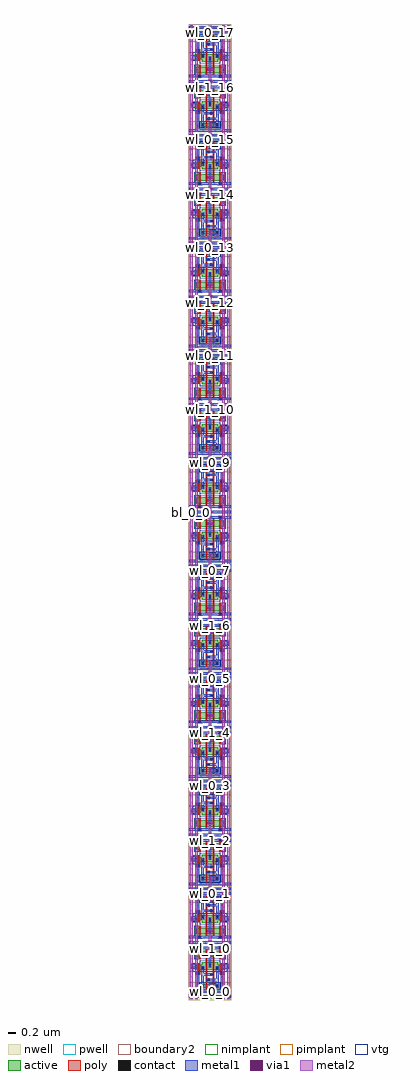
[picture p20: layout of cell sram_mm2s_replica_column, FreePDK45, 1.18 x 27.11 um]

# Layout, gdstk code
import gdstk
lib = gdstk.Library(unit=1e-6, precision=5e-10)
def R(c, l, rs):  # rectangles x0, y0, x1, y1
    for r in rs: c.add(gdstk.rectangle(r[:2], r[2:], *l))
def A(c, l, x, y, w, h, nx, ny, dx, dy):  # array of equal rectangles
    R(c, l, [(x+i*dx, y+j*dy, x+i*dx+w, y+j*dy+h) for i in range(nx) for j in range(ny)])
active = (1, 0)
pwell = (2, 0)
nwell = (3, 0)
nimplant = (4, 0)
pimplant = (5, 0)
vtg = (6, 0)
poly = (9, 0)
contact = (10, 0)
metal1 = (11, 0)
via1 = (12, 0)
metal2 = (13, 0)
boundary2 = (239, 0)

replica_cell_2rw = lib.new_cell('replica_cell_2rw')
R(replica_cell_2rw, active, [(0.545,-0.045,0.635,0.045), (0.165,0.2325,0.22,0.4125), (0.2075,0.2325,0.2775,0.4125), (0.2075,0.2325,0.3975,0.4125), (0.3275,0.2325,0.3975,0.4125), (0.3975,0.2325,0.4675,0.4125), (0.3975,0.2325,0.5875,0.4125), (0.5175,0.2325,0.5875,0.4125), (0.5525,0.2325,0.6275,0.4125), (0.5525,0.2325,0.6275,0.4125), (0.5525,0.2325,0.7775,0.4125), (0.7075,0.2325,0.7775,0.4125), (0.7775,0.2325,0.8475,0.4125), (0.7775,0.2325,0.9675,0.4125), (0.8975,0.2325,0.9675,0.4125), (0.955,0.2325,1.01,0.4125), (0.165,0.2775,0.255,0.3675), (0.92,0.2775,1.01,0.3675), (0.5525,0.2875,0.6275,0.3625), (0.3625,0.5525,0.4375,0.7575), (0.3625,0.5525,0.4375,0.7575), (0.3625,0.5525,0.5875,0.7575), (0.5175,0.5525,0.5875,0.7575), (0.5875,0.5525,0.6575,0.7575), (0.5875,0.5525,0.8125,0.7575), (0.7375,0.5525,0.8125,0.7575), (0.7375,0.5525,0.8125,0.7575), (0.545,0.5725,0.635,0.6625), (0.1575,0.6225,0.2325,0.6975), (0.1575,0.6225,0.2325,0.7575), (0.1575,0.6225,0.2325,0.7575), (0.1575,0.6225,0.3825,0.7575), (0.3125,0.6225,0.3825,0.7575), (0.7925,0.6225,0.8625,0.7575), (0.7925,0.6225,1.0175,0.7575), (0.9425,0.6225,1.0175,0.6975), (0.9425,0.6225,1.0175,0.7575), (0.9425,0.6225,1.0175,0.7575), (0.3625,0.6825,0.4375,0.7575), (0.7375,0.6825,0.8125,0.7575), (0.3625,1.1625,0.4375,1.2375), (0.3625,1.1625,0.4375,1.2525), (0.3625,1.1625,0.4375,1.2525), (0.3625,1.1625,0.6225,1.2525), (0.5475,1.1625,0.6225,1.2375), (0.5475,1.1625,0.6225,1.2525), (0.5475,1.1625,0.6225,1.2525), (0.5875,1.1625,0.6575,1.2525), (0.5875,1.1625,0.8125,1.2525), (0.7375,1.1625,0.8125,1.2375), (0.7375,1.1625,0.8125,1.2525), (0.7375,1.1625,0.8125,1.2525), (0.54,1.45,0.63,1.54)])
R(replica_cell_2rw, pwell, [(0.49,-0.1,0.69,0.1), (0,-0.085,1.175,0.8125), (0.1525,0.1775,0.4525,0.4675), (0.3425,0.1775,0.6425,0.4675), (0.4975,0.1775,0.8325,0.4675), (0.7225,0.1775,1.0225,0.4675), (0.3075,0.4975,0.6425,0.8125), (0.5325,0.4975,0.8675,0.8125), (0.1025,0.5675,0.4375,0.8125), (0.7375,0.5675,1.0725,0.8125)])
R(replica_cell_2rw, nwell, [(0,1.1075,1.175,1.595), (0.3075,1.1075,0.6775,1.3075), (0.5325,1.1075,0.8675,1.3075), (0.485,1.395,0.685,1.595)])
R(replica_cell_2rw, nimplant, [(0.165,0.2325,0.22,0.4125), (0.2075,0.2325,0.3975,0.4125), (0.3975,0.2325,0.5875,0.4125), (0.5525,0.2325,0.7775,0.4125), (0.7775,0.2325,0.9675,0.4125), (0.955,0.2325,1.01,0.4125), (0.165,0.2775,0.255,0.3675), (0.92,0.2775,1.01,0.3675), (0.3625,0.5525,0.5875,0.7575), (0.5875,0.5525,0.8125,0.7575), (0.545,0.5725,0.635,0.6625), (0.1575,0.6225,0.3825,0.7575), (0.7925,0.6225,1.0175,0.7575), (0.54,1.45,0.63,1.54)])
R(replica_cell_2rw, pimplant, [(0.545,-0.045,0.635,0.045), (0.3625,1.1625,0.6225,1.2525), (0.5875,1.1625,0.8125,1.2525)])
R(replica_cell_2rw, vtg, [(0.1525,0.1775,0.4525,0.4675), (0.3425,0.1775,0.6425,0.4675), (0.4975,0.1775,0.8325,0.4675), (0.7225,0.1775,1.0225,0.4675), (0.3075,0.4975,0.6425,0.8125), (0.5325,0.4975,0.8675,0.8125), (0.1025,0.5675,0.4375,0.8125), (0.7375,0.5675,1.0725,0.8125), (0.3075,1.1075,0.6775,1.3075), (0.5325,1.1075,0.8675,1.3075)])
A(replica_cell_2rw, poly, 0.2775, 0.1775, 0.05, 0.055, 4, 2, 0.19, 0.235)
A(replica_cell_2rw, poly, 0.2775, 0.1775, 0.05, 0.29, 4, 1, 0.19, 0)
R(replica_cell_2rw, poly, [(0.265,0.1075,0.34,0.1825), (0.835,0.1075,0.91,0.1825), (0.6575,0.44,0.7075,0.525), (0.4675,0.45,0.5175,0.525), (0.4675,0.4975,0.5175,0.8125), (0.4675,0.4975,0.5175,0.5525), (0.6575,0.4975,0.7075,0.8125), (0.6575,0.4975,0.7075,0.5525), (0.2625,0.5675,0.3125,0.6225), (0.2625,0.5675,0.3125,0.8125), (0.8625,0.5675,0.9125,0.6225), (0.8625,0.5675,0.9125,0.8125), (0.4675,0.7225,0.5175,1.135), (0.6575,0.7225,0.7075,1.135), (0.2625,0.7575,0.3125,0.8125), (0.4675,0.7575,0.5175,0.8125), (0.6575,0.7575,0.7075,0.8125), (0.8625,0.7575,0.9125,0.8125), (0.2625,0.8,0.3125,0.8975), (0.8625,0.8,0.9125,0.8975), (0.2125,0.8225,0.2875,0.8975), (0.8875,0.8225,0.9625,0.8975), (0.5925,0.8475,0.6675,0.9225), (0.5075,0.9975,0.5825,1.0725), (0.4675,1.1075,0.5175,1.1625), (0.4675,1.1075,0.5175,1.3075), (0.6575,1.1075,0.7075,1.1625), (0.6575,1.1075,0.7075,1.3075), (0.4675,1.2525,0.5175,1.3075), (0.6575,1.2525,0.7075,1.3075)])
R(replica_cell_2rw, contact, [(0.5575,-0.0325,0.6225,0.0325), (0.27,0.1125,0.335,0.1775), (0.84,0.1125,0.905,0.1775), (0.1775,0.29,0.2425,0.355), (0.9325,0.29,0.9975,0.355), (0.5575,0.2925,0.6225,0.3575), (0.5575,0.585,0.6225,0.65), (0.1625,0.6275,0.2275,0.6925), (0.9475,0.6275,1.0125,0.6925), (0.3675,0.6875,0.4325,0.7525), (0.7425,0.6875,0.8075,0.7525), (0.2175,0.8275,0.2825,0.8925), (0.8925,0.8275,0.9575,0.8925), (0.5975,0.8525,0.6625,0.9175), (0.5125,1.0025,0.5775,1.0675), (0.3675,1.1675,0.4325,1.2325), (0.5525,1.1675,0.6175,1.2325), (0.7425,1.1675,0.8075,1.2325), (0.5525,1.4625,0.6175,1.5275)])
R(replica_cell_2rw, metal1, [(0,-0.0325,1.175,0.0325), (0,-0.0325,1.175,0.0325), (0.235,0.1125,0.37,0.1775), (0.805,0.1125,0.94,0.1775), (0,0.1225,1.175,0.1875), (0,0.1225,1.175,0.1875), (0.1775,0.255,0.2425,0.39), (0.1775,0.255,0.2425,0.39), (0.9325,0.255,0.9975,0.39), (0.9325,0.255,0.9975,0.39), (0.5575,0.2575,0.6225,0.615), (0.5575,0.55,0.6225,0.685), (0.0375,0.5925,0.1025,0.7275), (0.0375,0.5925,0.2275,0.7275), (0.1625,0.5925,0.2275,0.7275), (0.9475,0.5925,1.0125,0.7275), (0.9475,0.5925,1.1375,0.7275), (1.0725,0.5925,1.1375,0.7275), (0.3475,0.6525,0.4125,1.2675), (0.3675,0.6525,0.4325,0.7875), (0.7425,0.6525,0.8075,0.7875), (0.7625,0.6525,0.8275,1.2675), (0.2175,0.7925,0.2825,0.9275), (0.8925,0.7925,0.9575,0.9275), (0.3675,0.8525,0.5825,0.9175), (0.5625,0.8525,0.6975,0.9175), (0.2175,0.895,0.2825,1.385), (0.8925,0.895,0.9575,1.385), (0.4775,1.0025,0.6125,1.0675), (0.5925,1.0025,0.8275,1.0675), (0.3675,1.1325,0.4325,1.2675), (0.5525,1.1325,0.6175,1.2675), (0.5525,1.1325,0.6175,1.2675), (0.6175,1.1325,0.8075,1.2675), (0,1.3325,1.175,1.3975), (0,1.3325,1.175,1.3975), (0,1.4625,1.175,1.5275), (0,1.4625,1.175,1.5275)])
R(replica_cell_2rw, via1, [(0.5575,-0.0325,0.6225,0.0325), (0.1775,0.29,0.2425,0.355), (0.9325,0.29,0.9975,0.355), (0.5575,0.2925,0.6225,0.3575), (0.0375,0.6275,0.1025,0.6925), (1.0725,0.6275,1.1375,0.6925), (0.5525,1.1675,0.6175,1.2325), (0.5525,1.4625,0.6175,1.5275)])
R(replica_cell_2rw, metal2, [(0.5225,-0.035,0.6575,0.035), (0.035,-0.015,0.105,1.56), (0.035,-0.015,0.105,1.56), (0.175,-0.015,0.245,1.56), (0.175,-0.015,0.245,1.56), (0.93,-0.015,1,1.56), (0.93,-0.015,1,1.56), (1.07,-0.015,1.14,1.56), (1.07,-0.015,1.14,1.56), (0.555,0.005,0.625,0.29), (0.175,0.255,0.245,0.39), (0.93,0.255,1,0.39), (0.5225,0.29,0.6575,0.36), (0.035,0.5925,0.105,0.7275), (1.07,0.5925,1.14,0.7275), (0.55,1.1325,0.62,1.2675), (1.0875,1.1375,1.1325,1.1725), (0.9525,1.145,0.985,1.175), (0.1925,1.155,0.23,1.18), (0.0475,1.1575,0.09,1.185), (0.55,1.1575,0.62,1.5275), (0.5175,1.46,0.6525,1.53)])
R(replica_cell_2rw, boundary2, [(0,0,1.175,1.495)])
replica_cell_2rw.add(gdstk.Label('gnd', (0.59,0), layer=11, texttype=0))
replica_cell_2rw.add(gdstk.Label('vdd', (0.585,1.495), layer=11, texttype=0))
replica_cell_2rw.add(gdstk.Label('wl1', (0.135,0.1425), layer=11, texttype=0))
replica_cell_2rw.add(gdstk.Label('wl0', (0.14,1.355), layer=11, texttype=0))
replica_cell_2rw.add(gdstk.Label('br0', (1.1075,1.1575), layer=13, texttype=0))
replica_cell_2rw.add(gdstk.Label('br1', (0.9675,1.1625), layer=13, texttype=0))
replica_cell_2rw.add(gdstk.Label('bl1', (0.205,1.1725), layer=13, texttype=0))
replica_cell_2rw.add(gdstk.Label('bl0', (0.07,1.1725), layer=13, texttype=0))
replica_cell_2rw.add(gdstk.Label('bl0', (0.07,0.7725), layer=13, texttype=0))
replica_cell_2rw.add(gdstk.Label('br0', (1.105,0.7725), layer=13, texttype=0))
replica_cell_2rw.add(gdstk.Label('bl1', (0.21,0.7725), layer=13, texttype=0))
replica_cell_2rw.add(gdstk.Label('br1', (0.965,0.7725), layer=13, texttype=0))
replica_cell_2rw.add(gdstk.Label('wl0', (0.5875,1.365), layer=11, texttype=0))
replica_cell_2rw.add(gdstk.Label('wl1', (0.5875,0.155), layer=11, texttype=0))
replica_cell_2rw.add(gdstk.Label('vdd', (0.5875,1.495), layer=11, texttype=0))
replica_cell_2rw.add(gdstk.Label('gnd', (0.5875,0), layer=11, texttype=0))

dummy_cell_2rw = lib.new_cell('dummy_cell_2rw')
R(dummy_cell_2rw, active, [(0.545,-0.045,0.635,0.045), (0.165,0.2325,0.22,0.4125), (0.2075,0.2325,0.2775,0.4125), (0.2075,0.2325,0.3975,0.4125), (0.3275,0.2325,0.3975,0.4125), (0.3975,0.2325,0.4675,0.4125), (0.3975,0.2325,0.5875,0.4125), (0.5175,0.2325,0.5875,0.4125), (0.5525,0.2325,0.6275,0.4125), (0.5525,0.2325,0.6275,0.4125), (0.5525,0.2325,0.7775,0.4125), (0.7075,0.2325,0.7775,0.4125), (0.7775,0.2325,0.8475,0.4125), (0.7775,0.2325,0.9675,0.4125), (0.8975,0.2325,0.9675,0.4125), (0.955,0.2325,1.01,0.4125), (0.165,0.2775,0.255,0.3675), (0.92,0.2775,1.01,0.3675), (0.5525,0.2875,0.6275,0.3625), (0.3625,0.5525,0.4375,0.7575), (0.3625,0.5525,0.4375,0.7575), (0.3625,0.5525,0.5875,0.7575), (0.5175,0.5525,0.5875,0.7575), (0.5875,0.5525,0.6575,0.7575), (0.5875,0.5525,0.8125,0.7575), (0.7375,0.5525,0.8125,0.7575), (0.7375,0.5525,0.8125,0.7575), (0.545,0.5725,0.635,0.6625), (0.1575,0.6225,0.2325,0.6975), (0.1575,0.6225,0.2325,0.7575), (0.1575,0.6225,0.2325,0.7575), (0.1575,0.6225,0.3825,0.7575), (0.3125,0.6225,0.3825,0.7575), (0.7925,0.6225,0.8625,0.7575), (0.7925,0.6225,1.0175,0.7575), (0.9425,0.6225,1.0175,0.6975), (0.9425,0.6225,1.0175,0.7575), (0.9425,0.6225,1.0175,0.7575), (0.3625,0.6825,0.4375,0.7575), (0.7375,0.6825,0.8125,0.7575), (0.3625,1.1625,0.4375,1.2375), (0.3625,1.1625,0.4375,1.2525), (0.3625,1.1625,0.4375,1.2525), (0.3625,1.1625,0.6225,1.2525), (0.5475,1.1625,0.6225,1.2375), (0.5475,1.1625,0.6225,1.2525), (0.5475,1.1625,0.6225,1.2525), (0.5875,1.1625,0.6575,1.2525), (0.5875,1.1625,0.8125,1.2525), (0.7375,1.1625,0.8125,1.2375), (0.7375,1.1625,0.8125,1.2525), (0.7375,1.1625,0.8125,1.2525), (0.54,1.45,0.63,1.54)])
R(dummy_cell_2rw, pwell, [(0.49,-0.1,0.69,0.1), (0,-0.085,1.175,0.8125), (0.1525,0.1775,0.4525,0.4675), (0.3425,0.1775,0.6425,0.4675), (0.4975,0.1775,0.8325,0.4675), (0.7225,0.1775,1.0225,0.4675), (0.3075,0.4975,0.6425,0.8125), (0.5325,0.4975,0.8675,0.8125), (0.1025,0.5675,0.4375,0.8125), (0.7375,0.5675,1.0725,0.8125)])
R(dummy_cell_2rw, nwell, [(0,1.1075,1.175,1.595), (0.3075,1.1075,0.6775,1.3075), (0.5325,1.1075,0.8675,1.3075), (0.485,1.395,0.685,1.595)])
R(dummy_cell_2rw, nimplant, [(0.165,0.2325,0.22,0.4125), (0.2075,0.2325,0.3975,0.4125), (0.3975,0.2325,0.5875,0.4125), (0.5525,0.2325,0.7775,0.4125), (0.7775,0.2325,0.9675,0.4125), (0.955,0.2325,1.01,0.4125), (0.165,0.2775,0.255,0.3675), (0.92,0.2775,1.01,0.3675), (0.3625,0.5525,0.5875,0.7575), (0.5875,0.5525,0.8125,0.7575), (0.545,0.5725,0.635,0.6625), (0.1575,0.6225,0.3825,0.7575), (0.7925,0.6225,1.0175,0.7575), (0.54,1.45,0.63,1.54)])
R(dummy_cell_2rw, pimplant, [(0.545,-0.045,0.635,0.045), (0.3625,1.1625,0.6225,1.2525), (0.5875,1.1625,0.8125,1.2525)])
R(dummy_cell_2rw, vtg, [(0.1525,0.1775,0.4525,0.4675), (0.3425,0.1775,0.6425,0.4675), (0.4975,0.1775,0.8325,0.4675), (0.7225,0.1775,1.0225,0.4675), (0.3075,0.4975,0.6425,0.8125), (0.5325,0.4975,0.8675,0.8125), (0.1025,0.5675,0.4375,0.8125), (0.7375,0.5675,1.0725,0.8125), (0.3075,1.1075,0.6775,1.3075), (0.5325,1.1075,0.8675,1.3075)])
A(dummy_cell_2rw, poly, 0.2775, 0.1775, 0.05, 0.055, 4, 2, 0.19, 0.235)
A(dummy_cell_2rw, poly, 0.2775, 0.1775, 0.05, 0.29, 4, 1, 0.19, 0)
R(dummy_cell_2rw, poly, [(0.265,0.1075,0.34,0.1825), (0.835,0.1075,0.91,0.1825), (0.6575,0.44,0.7075,0.525), (0.4675,0.45,0.5175,0.525), (0.4675,0.4975,0.5175,0.8125), (0.4675,0.4975,0.5175,0.5525), (0.6575,0.4975,0.7075,0.8125), (0.6575,0.4975,0.7075,0.5525), (0.2625,0.5675,0.3125,0.6225), (0.2625,0.5675,0.3125,0.8125), (0.8625,0.5675,0.9125,0.6225), (0.8625,0.5675,0.9125,0.8125), (0.4675,0.7225,0.5175,1.135), (0.6575,0.7225,0.7075,1.135), (0.2625,0.7575,0.3125,0.8125), (0.4675,0.7575,0.5175,0.8125), (0.6575,0.7575,0.7075,0.8125), (0.8625,0.7575,0.9125,0.8125), (0.2625,0.8,0.3125,0.8975), (0.8625,0.8,0.9125,0.8975), (0.2125,0.8225,0.2875,0.8975), (0.8875,0.8225,0.9625,0.8975), (0.5925,0.8475,0.6675,0.9225), (0.5075,0.9975,0.5825,1.0725), (0.4675,1.1075,0.5175,1.1625), (0.4675,1.1075,0.5175,1.3075), (0.6575,1.1075,0.7075,1.1625), (0.6575,1.1075,0.7075,1.3075), (0.4675,1.2525,0.5175,1.3075), (0.6575,1.2525,0.7075,1.3075)])
R(dummy_cell_2rw, contact, [(0.5575,-0.0325,0.6225,0.0325), (0.27,0.1125,0.335,0.1775), (0.84,0.1125,0.905,0.1775), (0.1775,0.29,0.2425,0.355), (0.9325,0.29,0.9975,0.355), (0.5575,0.2925,0.6225,0.3575), (0.5575,0.585,0.6225,0.65), (0.1625,0.6275,0.2275,0.6925), (0.9475,0.6275,1.0125,0.6925), (0.3675,0.6875,0.4325,0.7525), (0.7425,0.6875,0.8075,0.7525), (0.2175,0.8275,0.2825,0.8925), (0.8925,0.8275,0.9575,0.8925), (0.5975,0.8525,0.6625,0.9175), (0.5125,1.0025,0.5775,1.0675), (0.3675,1.1675,0.4325,1.2325), (0.5525,1.1675,0.6175,1.2325), (0.7425,1.1675,0.8075,1.2325), (0.5525,1.4625,0.6175,1.5275)])
R(dummy_cell_2rw, metal1, [(0,-0.0325,1.175,0.0325), (0,-0.0325,1.175,0.0325), (0.235,0.1125,0.37,0.1775), (0.805,0.1125,0.94,0.1775), (0,0.1225,1.175,0.1875), (0,0.1225,1.175,0.1875), (0.1775,0.255,0.2425,0.39), (0.1775,0.255,0.2425,0.39), (0.9325,0.255,0.9975,0.39), (0.9325,0.255,0.9975,0.39), (0.5575,0.2575,0.6225,0.615), (0.5575,0.55,0.6225,0.685), (0.0375,0.5925,0.1025,0.7275), (0.0375,0.5925,0.2275,0.7275), (0.1625,0.5925,0.2275,0.7275), (0.9475,0.5925,1.0125,0.7275), (0.9475,0.5925,1.1375,0.7275), (1.0725,0.5925,1.1375,0.7275), (0.3475,0.6525,0.4125,1.2675), (0.3675,0.6525,0.4325,0.7875), (0.7425,0.6525,0.8075,0.7875), (0.7625,0.6525,0.8275,1.2675), (0.2175,0.7925,0.2825,0.9275), (0.8925,0.7925,0.9575,0.9275), (0.3675,0.8525,0.5825,0.9175), (0.5625,0.8525,0.6975,0.9175), (0.2175,0.895,0.2825,1.385), (0.8925,0.895,0.9575,1.385), (0.4775,1.0025,0.6125,1.0675), (0.5925,1.0025,0.8275,1.0675), (0.3675,1.1325,0.4325,1.2675), (0.5525,1.1325,0.6175,1.2675), (0.5525,1.1325,0.6175,1.2675), (0.7425,1.1325,0.8075,1.2675), (0,1.3325,1.175,1.3975), (0,1.3325,1.175,1.3975), (0,1.4625,1.175,1.5275), (0,1.4625,1.175,1.5275)])
R(dummy_cell_2rw, via1, [(0.5575,-0.0325,0.6225,0.0325), (0.5575,0.2925,0.6225,0.3575), (0.5525,1.1675,0.6175,1.2325), (0.5525,1.4625,0.6175,1.5275)])
R(dummy_cell_2rw, metal2, [(0.5225,-0.035,0.6575,0.035), (0.035,-0.015,0.105,1.56), (0.035,-0.015,0.105,1.56), (0.175,-0.015,0.245,1.56), (0.175,-0.015,0.245,1.56), (0.93,-0.015,1,1.56), (0.93,-0.015,1,1.56), (1.07,-0.015,1.14,1.56), (1.07,-0.015,1.14,1.56), (0.555,0.005,0.625,0.29), (0.175,0.255,0.245,0.39), (0.93,0.255,1,0.39), (0.5225,0.29,0.6575,0.36), (0.035,0.5925,0.105,0.7275), (1.07,0.5925,1.14,0.7275), (0.55,1.1325,0.62,1.2675), (1.0875,1.1375,1.1325,1.1725), (0.9525,1.145,0.985,1.175), (0.1925,1.155,0.23,1.18), (0.0475,1.1575,0.09,1.185), (0.55,1.1575,0.62,1.5275), (0.5175,1.46,0.6525,1.53)])
R(dummy_cell_2rw, boundary2, [(0,0,1.175,1.495)])
dummy_cell_2rw.add(gdstk.Label('gnd', (0.59,0), layer=11, texttype=0))
dummy_cell_2rw.add(gdstk.Label('wl1', (0.14,0.1625), layer=11, texttype=0))
dummy_cell_2rw.add(gdstk.Label('vdd', (0.585,1.495), layer=11, texttype=0))
dummy_cell_2rw.add(gdstk.Label('wl0', (0.14,1.355), layer=11, texttype=0))
dummy_cell_2rw.add(gdstk.Label('br0', (1.1075,1.1575), layer=13, texttype=0))
dummy_cell_2rw.add(gdstk.Label('br1', (0.9675,1.1625), layer=13, texttype=0))
dummy_cell_2rw.add(gdstk.Label('bl1', (0.205,1.1725), layer=13, texttype=0))
dummy_cell_2rw.add(gdstk.Label('bl0', (0.07,1.1725), layer=13, texttype=0))
dummy_cell_2rw.add(gdstk.Label('bl0', (0.07,0.7725), layer=13, texttype=0))
dummy_cell_2rw.add(gdstk.Label('br0', (1.105,0.7725), layer=13, texttype=0))
dummy_cell_2rw.add(gdstk.Label('bl1', (0.21,0.7725), layer=13, texttype=0))
dummy_cell_2rw.add(gdstk.Label('br1', (0.965,0.7725), layer=13, texttype=0))
dummy_cell_2rw.add(gdstk.Label('wl0', (0.5875,1.365), layer=11, texttype=0))
dummy_cell_2rw.add(gdstk.Label('wl1', (0.5875,0.155), layer=11, texttype=0))
dummy_cell_2rw.add(gdstk.Label('vdd', (0.5875,1.495), layer=11, texttype=0))
dummy_cell_2rw.add(gdstk.Label('gnd', (0.5875,0), layer=11, texttype=0))

sram_mm2s_replica_column = lib.new_cell('sram_mm2s_replica_column')
A(sram_mm2s_replica_column, metal1, 0, 1.3075, 1.175, 0.065, 1, 3, 0, 0.155)
A(sram_mm2s_replica_column, metal1, 0, 2.8275, 1.175, 0.065, 1, 3, 0, 0.13)
A(sram_mm2s_replica_column, metal1, 0, 4.2975, 1.175, 0.065, 1, 3, 0, 0.155)
A(sram_mm2s_replica_column, metal1, 0, 5.8175, 1.175, 0.065, 1, 3, 0, 0.13)
A(sram_mm2s_replica_column, metal1, 0, 7.2875, 1.175, 0.065, 1, 3, 0, 0.155)
A(sram_mm2s_replica_column, metal1, 0, 8.8075, 1.175, 0.065, 1, 3, 0, 0.13)
A(sram_mm2s_replica_column, metal1, 0, 10.2775, 1.175, 0.065, 1, 3, 0, 0.155)
A(sram_mm2s_replica_column, metal1, 0, 11.7975, 1.175, 0.065, 1, 3, 0, 0.13)
A(sram_mm2s_replica_column, metal1, 0, 13.2675, 1.175, 0.065, 1, 3, 0, 0.155)
A(sram_mm2s_replica_column, metal1, 0, 14.7875, 1.175, 0.065, 1, 3, 0, 0.13)
A(sram_mm2s_replica_column, metal1, 0, 16.2575, 1.175, 0.065, 1, 3, 0, 0.155)
A(sram_mm2s_replica_column, metal1, 0, 17.7775, 1.175, 0.065, 1, 3, 0, 0.13)
A(sram_mm2s_replica_column, metal1, 0, 19.2475, 1.175, 0.065, 1, 3, 0, 0.155)
A(sram_mm2s_replica_column, metal1, 0, 20.7675, 1.175, 0.065, 1, 3, 0, 0.13)
A(sram_mm2s_replica_column, metal1, 0, 22.2375, 1.175, 0.065, 1, 3, 0, 0.155)
A(sram_mm2s_replica_column, metal1, 0, 23.7575, 1.175, 0.065, 1, 3, 0, 0.13)
A(sram_mm2s_replica_column, metal1, 0, 25.2275, 1.175, 0.065, 1, 3, 0, 0.155)
R(sram_mm2s_replica_column, metal1, [(0,-0.0325,1.175,0.0325), (0,0.0975,1.175,0.1625), (0,26.7475,1.175,26.8125), (0,26.8775,1.175,26.9425)])
R(sram_mm2s_replica_column, metal2, [(0.035,0,0.105,26.91), (0.175,0,0.245,26.91), (0.93,0,1,26.91), (1.07,0,1.14,26.91)])
R(sram_mm2s_replica_column, boundary2, [(0,0,1.175,26.91)])
sram_mm2s_replica_column.add(gdstk.Reference(replica_cell_2rw, (0,1.495), x_reflection=True))
sram_mm2s_replica_column.add(gdstk.Reference(replica_cell_2rw, (0,1.495)))
sram_mm2s_replica_column.add(gdstk.Reference(replica_cell_2rw, (0,4.485), x_reflection=True))
sram_mm2s_replica_column.add(gdstk.Reference(replica_cell_2rw, (0,4.485)))
sram_mm2s_replica_column.add(gdstk.Reference(replica_cell_2rw, (0,7.475), x_reflection=True))
sram_mm2s_replica_column.add(gdstk.Reference(replica_cell_2rw, (0,7.475)))
sram_mm2s_replica_column.add(gdstk.Reference(replica_cell_2rw, (0,10.465), x_reflection=True))
sram_mm2s_replica_column.add(gdstk.Reference(replica_cell_2rw, (0,10.465)))
sram_mm2s_replica_column.add(gdstk.Reference(replica_cell_2rw, (0,13.455), x_reflection=True))
sram_mm2s_replica_column.add(gdstk.Reference(replica_cell_2rw, (0,13.455)))
sram_mm2s_replica_column.add(gdstk.Reference(replica_cell_2rw, (0,16.445), x_reflection=True))
sram_mm2s_replica_column.add(gdstk.Reference(replica_cell_2rw, (0,16.445)))
sram_mm2s_replica_column.add(gdstk.Reference(replica_cell_2rw, (0,19.435), x_reflection=True))
sram_mm2s_replica_column.add(gdstk.Reference(replica_cell_2rw, (0,19.435)))
sram_mm2s_replica_column.add(gdstk.Reference(replica_cell_2rw, (0,22.425), x_reflection=True))
sram_mm2s_replica_column.add(gdstk.Reference(replica_cell_2rw, (0,22.425)))
sram_mm2s_replica_column.add(gdstk.Reference(replica_cell_2rw, (0,25.415), x_reflection=True))
sram_mm2s_replica_column.add(gdstk.Reference(dummy_cell_2rw, (0,25.415)))
sram_mm2s_replica_column.add(gdstk.Label('bl_0_0', (0.07,13.455), layer=13, texttype=0))
sram_mm2s_replica_column.add(gdstk.Label('br_0_0', (1.105,13.455), layer=13, texttype=0))
sram_mm2s_replica_column.add(gdstk.Label('bl_1_0', (0.21,13.455), layer=13, texttype=0))
sram_mm2s_replica_column.add(gdstk.Label('br_1_0', (0.965,13.455), layer=13, texttype=0))
sram_mm2s_replica_column.add(gdstk.Label('wl_0_0', (0.5875,0.13), layer=11, texttype=0))
sram_mm2s_replica_column.add(gdstk.Label('wl_0_1', (0.5875,2.86), layer=11, texttype=0))
sram_mm2s_replica_column.add(gdstk.Label('wl_0_2', (0.5875,3.12), layer=11, texttype=0))
sram_mm2s_replica_column.add(gdstk.Label('wl_0_3', (0.5875,5.85), layer=11, texttype=0))
sram_mm2s_replica_column.add(gdstk.Label('wl_0_4', (0.5875,6.11), layer=11, texttype=0))
sram_mm2s_replica_column.add(gdstk.Label('wl_0_5', (0.5875,8.84), layer=11, texttype=0))
sram_mm2s_replica_column.add(gdstk.Label('wl_0_6', (0.5875,9.1), layer=11, texttype=0))
sram_mm2s_replica_column.add(gdstk.Label('wl_0_7', (0.5875,11.83), layer=11, texttype=0))
sram_mm2s_replica_column.add(gdstk.Label('wl_0_8', (0.5875,12.09), layer=11, texttype=0))
sram_mm2s_replica_column.add(gdstk.Label('wl_0_9', (0.5875,14.82), layer=11, texttype=0))
sram_mm2s_replica_column.add(gdstk.Label('wl_0_10', (0.5875,15.08), layer=11, texttype=0))
sram_mm2s_replica_column.add(gdstk.Label('wl_0_11', (0.5875,17.81), layer=11, texttype=0))
sram_mm2s_replica_column.add(gdstk.Label('wl_0_12', (0.5875,18.07), layer=11, texttype=0))
sram_mm2s_replica_column.add(gdstk.Label('wl_0_13', (0.5875,20.8), layer=11, texttype=0))
sram_mm2s_replica_column.add(gdstk.Label('wl_0_14', (0.5875,21.06), layer=11, texttype=0))
sram_mm2s_replica_column.add(gdstk.Label('wl_0_15', (0.5875,23.79), layer=11, texttype=0))
sram_mm2s_replica_column.add(gdstk.Label('wl_0_16', (0.5875,24.05), layer=11, texttype=0))
sram_mm2s_replica_column.add(gdstk.Label('wl_0_17', (0.5875,26.78), layer=11, texttype=0))
sram_mm2s_replica_column.add(gdstk.Label('wl_1_0', (0.5875,1.34), layer=11, texttype=0))
sram_mm2s_replica_column.add(gdstk.Label('wl_1_1', (0.5875,1.65), layer=11, texttype=0))
sram_mm2s_replica_column.add(gdstk.Label('wl_1_2', (0.5875,4.33), layer=11, texttype=0))
sram_mm2s_replica_column.add(gdstk.Label('wl_1_3', (0.5875,4.64), layer=11, texttype=0))
sram_mm2s_replica_column.add(gdstk.Label('wl_1_4', (0.5875,7.32), layer=11, texttype=0))
sram_mm2s_replica_column.add(gdstk.Label('wl_1_5', (0.5875,7.63), layer=11, texttype=0))
sram_mm2s_replica_column.add(gdstk.Label('wl_1_6', (0.5875,10.31), layer=11, texttype=0))
sram_mm2s_replica_column.add(gdstk.Label('wl_1_7', (0.5875,10.62), layer=11, texttype=0))
sram_mm2s_replica_column.add(gdstk.Label('wl_1_8', (0.5875,13.3), layer=11, texttype=0))
sram_mm2s_replica_column.add(gdstk.Label('wl_1_9', (0.5875,13.61), layer=11, texttype=0))
sram_mm2s_replica_column.add(gdstk.Label('wl_1_10', (0.5875,16.29), layer=11, texttype=0))
sram_mm2s_replica_column.add(gdstk.Label('wl_1_11', (0.5875,16.6), layer=11, texttype=0))
sram_mm2s_replica_column.add(gdstk.Label('wl_1_12', (0.5875,19.28), layer=11, texttype=0))
sram_mm2s_replica_column.add(gdstk.Label('wl_1_13', (0.5875,19.59), layer=11, texttype=0))
sram_mm2s_replica_column.add(gdstk.Label('wl_1_14', (0.5875,22.27), layer=11, texttype=0))
sram_mm2s_replica_column.add(gdstk.Label('wl_1_15', (0.5875,22.58), layer=11, texttype=0))
sram_mm2s_replica_column.add(gdstk.Label('wl_1_16', (0.5875,25.26), layer=11, texttype=0))
sram_mm2s_replica_column.add(gdstk.Label('wl_1_17', (0.5875,25.57), layer=11, texttype=0))
sram_mm2s_replica_column.add(gdstk.Label('vdd', (0.5875,17.94), layer=11, texttype=0))
sram_mm2s_replica_column.add(gdstk.Label('vdd', (0.5875,0), layer=11, texttype=0))
sram_mm2s_replica_column.add(gdstk.Label('vdd', (0.5875,2.99), layer=11, texttype=0))
sram_mm2s_replica_column.add(gdstk.Label('vdd', (0.5875,26.91), layer=11, texttype=0))
sram_mm2s_replica_column.add(gdstk.Label('vdd', (0.5875,5.98), layer=11, texttype=0))
sram_mm2s_replica_column.add(gdstk.Label('vdd', (0.5875,8.97), layer=11, texttype=0))
sram_mm2s_replica_column.add(gdstk.Label('vdd', (0.5875,11.96), layer=11, texttype=0))
sram_mm2s_replica_column.add(gdstk.Label('vdd', (0.5875,14.95), layer=11, texttype=0))
sram_mm2s_replica_column.add(gdstk.Label('vdd', (0.5875,20.93), layer=11, texttype=0))
sram_mm2s_replica_column.add(gdstk.Label('vdd', (0.5875,23.92), layer=11, texttype=0))
sram_mm2s_replica_column.add(gdstk.Label('gnd', (0.5875,19.435), layer=11, texttype=0))
sram_mm2s_replica_column.add(gdstk.Label('gnd', (0.5875,7.475), layer=11, texttype=0))
sram_mm2s_replica_column.add(gdstk.Label('gnd', (0.5875,13.455), layer=11, texttype=0))
sram_mm2s_replica_column.add(gdstk.Label('gnd', (0.5875,10.465), layer=11, texttype=0))
sram_mm2s_replica_column.add(gdstk.Label('gnd', (0.5875,4.485), layer=11, texttype=0))
sram_mm2s_replica_column.add(gdstk.Label('gnd', (0.5875,16.445), layer=11, texttype=0))
sram_mm2s_replica_column.add(gdstk.Label('gnd', (0.5875,22.425), layer=11, texttype=0))
sram_mm2s_replica_column.add(gdstk.Label('gnd', (0.5875,25.415), layer=11, texttype=0))
sram_mm2s_replica_column.add(gdstk.Label('gnd', (0.5875,1.495), layer=11, texttype=0))

lib.write_gds('sram_mm2s_replica_column.gds')
